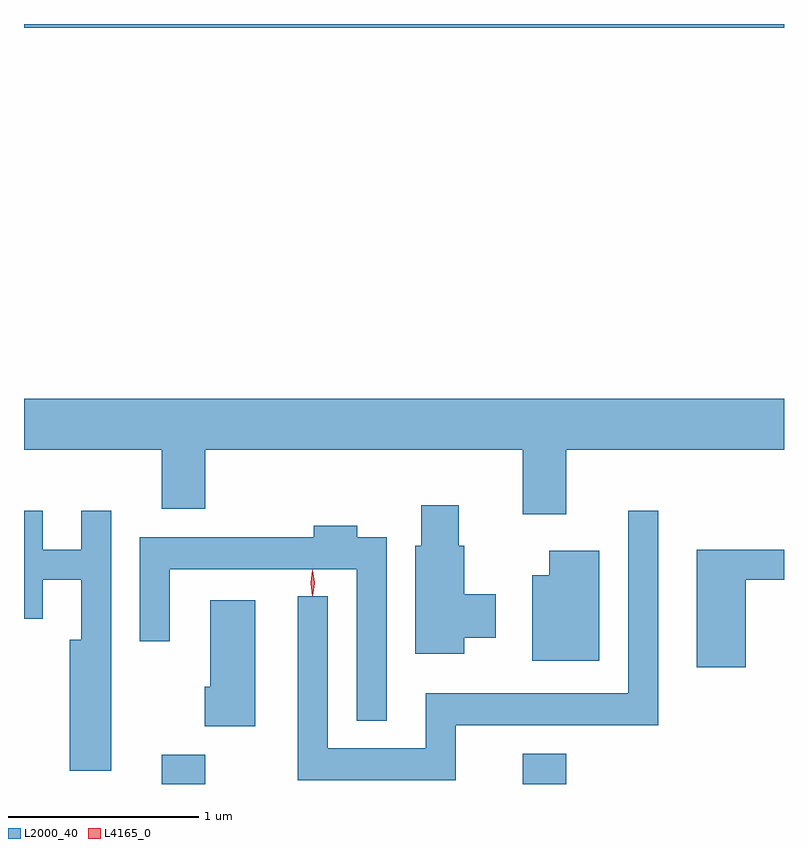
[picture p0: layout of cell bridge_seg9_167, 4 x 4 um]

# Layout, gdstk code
import gdstk
lib = gdstk.Library(unit=1e-6, precision=1e-09)
def R(c, l, rs):  # rectangles x0, y0, x1, y1
    for r in rs: c.add(gdstk.rectangle(r[:2], r[2:], *l))
def P(c, l, *ps):  # polygons
    for p in ps: c.add(gdstk.Polygon(p, *l))
L2000_40 = (2000, 40)
L4165_0 = (4165, 0)

bridge_seg9_167 = lib.new_cell('bridge_seg9_167')
R(bridge_seg9_167, L2000_40, [(1399.041,2069.976,1399.269,2070.129), (1400.941,2069.976,1401.169,2070.134), (1398.316,2073.956,1402.316,2073.976)])
P(bridge_seg9_167, L2000_40, [(1401.169,2071.736),(1402.316,2071.736),(1402.316,2072.004),(1398.316,2072.004),(1398.316,2071.736),(1399.041,2071.736),(1399.041,2071.426),(1399.269,2071.426),(1399.269,2071.736),(1400.941,2071.736),(1400.941,2071.396),(1401.169,2071.396)],
  [(1400.634,2070.746),(1400.799,2070.746),(1400.799,2070.974),(1400.634,2070.974),(1400.634,2071.229),(1400.604,2071.229),(1400.604,2071.444),(1400.406,2071.444),(1400.406,2071.229),(1400.376,2071.229),(1400.376,2070.661),(1400.634,2070.661)],
  [(1398.774,2071.413),(1398.616,2071.413),(1398.616,2071.209),(1398.414,2071.209),(1398.414,2071.414),(1398.316,2071.414),(1398.316,2070.846),(1398.414,2070.846),(1398.414,2071.051),(1398.616,2071.051),(1398.616,2070.734),(1398.556,2070.734),(1398.556,2070.046),(1398.774,2070.046)],
  [(1400.589,2070.286),(1401.654,2070.286),(1401.654,2071.413),(1401.496,2071.413),(1401.496,2070.454),(1400.431,2070.454),(1400.431,2070.164),(1399.914,2070.164),(1399.914,2070.963),(1399.756,2070.963),(1399.756,2069.996),(1400.589,2069.996)],
  [(1400.224,2071.274),(1400.069,2071.274),(1400.069,2071.334),(1399.841,2071.334),(1399.841,2071.274),(1398.926,2071.274),(1398.926,2070.728),(1399.084,2070.728),(1399.084,2071.106),(1400.066,2071.106),(1400.066,2070.308),(1400.224,2070.308)],
  [(1402.114,2071.051),(1402.316,2071.051),(1402.316,2071.209),(1401.856,2071.209),(1401.856,2070.591),(1402.114,2070.591)],
  [(1401.344,2071.204),(1401.081,2071.204),(1401.081,2071.074),(1400.991,2071.074),(1400.991,2070.626),(1401.344,2070.626)],
  [(1399.534,2070.944),(1399.296,2070.944),(1399.296,2070.489),(1399.266,2070.489),(1399.266,2070.281),(1399.534,2070.281)])
P(bridge_seg9_167, L4165_0, [(1399.835,2070.963),(1399.834,2070.964),(1399.825,2071.033),(1399.834,2071.102),(1399.835,2071.103),(1399.836,2071.102),(1399.845,2071.033),(1399.836,2070.964)],
  [(1399.835,2070.967),(1399.834,2070.968),(1399.825,2071.034),(1399.834,2071.1),(1399.835,2071.101),(1399.836,2071.1),(1399.845,2071.034),(1399.836,2070.968)])

lib.write_gds('bridge_seg9_167.gds')
